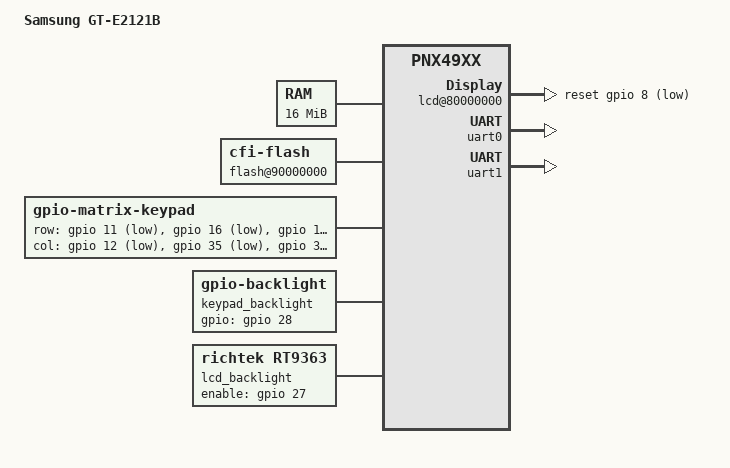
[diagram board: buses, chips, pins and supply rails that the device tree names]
// SPDX-License-Identifier: GPL-2.0-or-later
/*
 * Samsung GT-E2121B PNX4852 board
 *
 * Copyright (C) 2026 BHmsWare <bhmsgamexbox2010@gmail.com>
 */

/dts-v1/;

#include "pnx49xx.dtsi"

#include <dt-bindings/gpio/gpio.h>
#include <dt-bindings/input/input.h>

/ {
	model = "Samsung GT-E2121B";
	compatible = "samsung,gt-e2121b", "nxp,pnx49xx";

	chosen {
		bootargs = "console=ttyS0,115200 earlycon=pnx49xx_uart,mmio32,0x70007000";
	};

	memory@a0000000 {
		device_type = "memory";
		reg = <0xa0000000 0x01000000>;
	};

	flash@90000000 {
		compatible = "cfi-flash";
		reg = <0x90000000 0x02000000>;
		bank-width = <2>;
		device-width = <2>;
	};

	matrix-keypad {
		compatible = "gpio-matrix-keypad";

		row-gpios = <&gpio 11 GPIO_ACTIVE_LOW>,
					<&gpio 16 GPIO_ACTIVE_LOW>,
					<&gpio 15 GPIO_ACTIVE_LOW>,
					<&gpio 14 GPIO_ACTIVE_LOW>,
					<&gpio 13 GPIO_ACTIVE_LOW>;

		col-gpios = <&gpio 12 GPIO_ACTIVE_LOW>,
					<&gpio 35 GPIO_ACTIVE_LOW>,
					<&gpio 34 GPIO_ACTIVE_LOW>,
					<&gpio 33 GPIO_ACTIVE_LOW>,
					<&gpio 32 GPIO_ACTIVE_LOW>;

		linux,keymap = <
			MATRIX_KEY(0, 0, KEY_1)
			MATRIX_KEY(0, 1, KEY_2)
			MATRIX_KEY(0, 2, KEY_3)
			MATRIX_KEY(0, 3, KEY_LEFT)
			MATRIX_KEY(0, 4, KEY_SEND)

			MATRIX_KEY(1, 0, KEY_4)
			MATRIX_KEY(1, 1, KEY_5)
			MATRIX_KEY(1, 2, KEY_6)
			MATRIX_KEY(1, 3, KEY_OK)
			MATRIX_KEY(1, 4, KEY_F1)

			MATRIX_KEY(2, 0, KEY_7)
			MATRIX_KEY(2, 1, KEY_8)
			MATRIX_KEY(2, 2, KEY_9)
			MATRIX_KEY(2, 3, KEY_RIGHT)
			MATRIX_KEY(2, 4, KEY_F2)

			MATRIX_KEY(3, 0, KEY_NUMERIC_STAR)
			MATRIX_KEY(3, 1, KEY_0)
			MATRIX_KEY(3, 2, KEY_NUMERIC_POUND)
			MATRIX_KEY(3, 3, KEY_DOWN)

			MATRIX_KEY(4, 3, KEY_UP)
		>;
	};

	keypad_backlight {
		compatible = "gpio-backlight";
		gpios = <&gpio 28 GPIO_ACTIVE_HIGH>;
		default-on;
	};

	lcd_backlight {
		compatible = "richtek,rt9363";
		enable-gpios = <&gpio 27 GPIO_ACTIVE_HIGH>;
		max-brightness = <32>;
	};

	lcd@80000000 {
		compatible = "samsung,s6b33b";

		reg = <0x80000000 0x100000>,
		      <0x80100000 0x100000>;

		reg-names = "cmd", "data";

		reset-gpios = <&gpio 8 GPIO_ACTIVE_LOW>;
		cs-gpios = <&gpio 29 GPIO_ACTIVE_HIGH>;
	};
};

&uart0 {
	status = "okay";
};

&uart1 {
	status = "okay";
};
